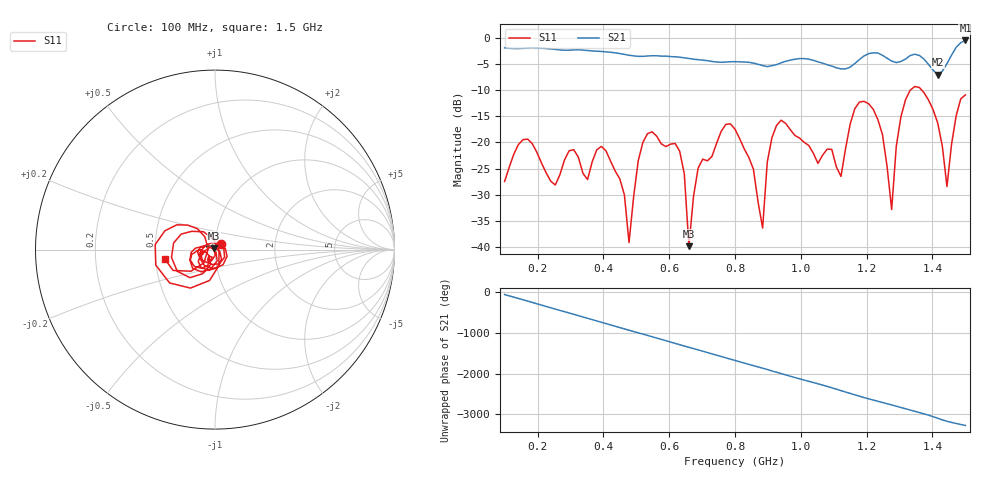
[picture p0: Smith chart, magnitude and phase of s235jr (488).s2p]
! NanoVNA-App
! Date: 2025-09-25 15:07:57
! Start: 100MHz Stop: 1,5GHz Points: 101
! S-Parameter data: F S11 S21 S12 S22
# Hz S RI R 50
!  Frequency  S11_Real  S11_Imag  S21_Real  S21_Imag  S12_Real  S12_Imag  S22_Real  S22_Imag
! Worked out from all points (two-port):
!   101 points, 100 MHz to 1.5 GHz, reference 50 ohm
!   highest |S21| = -0.55 dB at 1.5 GHz (marker M1); lowest = -7.1 dB at 1.416 GHz (marker M2)
!   |S21| within 3 dB of the highest: start of sweep to 500.6 MHz; 527.9 MHz to 592.2 MHz (64.35 MHz wide, 11.5 % of centre) (the widest 2 of 5)
!   lowest |S11| = -39.8 dB at 660 MHz (marker M3), VSWR 1.02, Z = 49.2 + j0.658 ohm
!   |S11| at or under -10 dB: start of sweep to 1.333 GHz; 1.367 GHz to end of sweep
!   S12 and S22 are empty: the file has one direction only
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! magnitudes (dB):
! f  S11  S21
! 100 MHz  -27.5  -2.0
! 170 MHz  -19.4  -2.0
! 338 MHz  -25.9  -2.4
! 408 MHz  -21.6  -2.7
! 478 MHz  -39.1  -3.4
! 520 MHz  -20.0  -3.6
! 576 MHz  -20.3  -3.5
! 632 MHz  -21.7  -3.7
! 660 MHz  -39.8  -4.0
! 688 MHz  -24.9  -4.2
! 800 MHz  -17.5  -4.6
! 884 MHz  -36.4  -5.3
! 926 MHz  -16.8  -5.2
! 1.038 GHz  -22.1  -4.3
! 1.122 GHz  -26.5  -6.0
! 1.206 GHz  -12.6  -3.1
! 1.276 GHz  -32.8  -4.5
! 1.29 GHz  -20.8  -4.8
! 1.332 GHz  -10.1  -3.4
! 1.416 GHz  -16.3  -7.1
! 1.444 GHz  -28.4  -5.0
! 1.5 GHz  -10.9  -0.5
